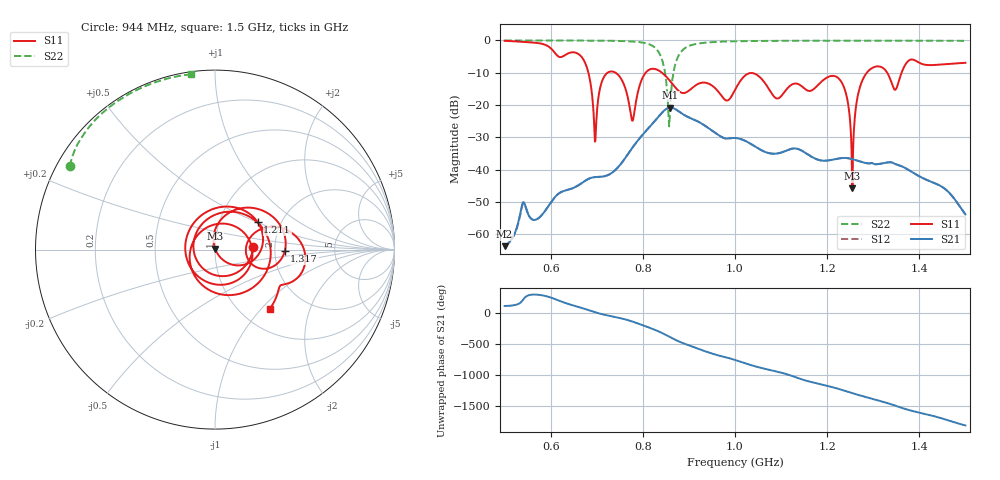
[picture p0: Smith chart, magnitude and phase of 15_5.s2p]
! TOUCHSTONE file generated by CST MICROWAVE STUDIO
! Date and time: Mon Nov 30 08:36:15 2020
! Project name: Scenario_1_Planar_Body_Tissue_Out_of_Line.cst
! Parameters = {dy1=-103.8; L_HA=400; Ltissue=700; MT=2.54; Rad_Dielectric=30; Rad_Lower=7.3; Rad_Upper=30; Wtissue=700; a_HA=580; a_WG=246; b_HA=500; b_WG=121; c_HA=0; c_WG=187; d_feed=85; dx1=866; h_feed=15; h_lower=18; h_upper=40; hfat=3; hgap=25; hmuscle=50; hskin=1.5}
! Header version: 2018
! Port assignment regex: !\s*Touchstone port\s*([0-9]+)\s*=\s*(CST MWS port|CST DS port)\s*([0-9]+|Zmin|Zmax)\s*\(\"(.*)\"\)(\s*mode\s*([0-9]+))?.*
! Touchstone port assignment:
! Touchstone port 1 = CST MWS port 1 ("")
! Touchstone port 2 = CST MWS port 2 ("")
# GHz S DB R 50
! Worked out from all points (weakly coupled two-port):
!   1003 points, 500 MHz to 1.5 GHz, reference 50 ohm
!   highest |S21| = -20.81 dB at 860 MHz (marker M1); lowest = -63.7 dB at 500 MHz (marker M2)
!   lowest |S11| = -45.8 dB at 1.255 GHz (marker M3), VSWR 1.01, Z = 50.1 + j0.511 ohm
!   |S11| at or under -10 dB: 681.8 MHz to 723.5 MHz (41.67 MHz wide, 5.93 % of centre); 740.7 MHz to 806.2 MHz (65.44 MHz wide, 8.46 % of centre); 841.5 MHz to 1.286 GHz (444.7 MHz wide, 41.8 % of centre)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
!   |S22| runs from -26.6 to 0.0 dB; largest |S21 - S12| = 0.00026
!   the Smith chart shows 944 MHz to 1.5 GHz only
!   S11 on the Smith chart (normalised r, x): 944 MHz: 1.54, +0.04; 1.211 GHz: 1.52, +0.50; 1.317 GHz: 2.27, -0.05; 1.5 GHz: 1.35, -1.12
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0.5  -0.10 -122.1  -63.73 105.1  -63.73 105.1  -0.01 151.1
0.54  -0.45 -139.8  -50.16 -155.6  -50.63 -159.3  -0.01 148.5
0.583  -1.12 -167.7  -53.71 -86.2  -53.71 -86.1  -0.02 145.4
0.667  -5.09 122.7  -44.22 74.5  -44.22 74.5  -0.04 138.4
0.697  -31.13 -65.7  -42.32 2.8  -42.32 2.8  -0.06 135.2
0.723  -10.05 169.5  -41.79 -46.0  -41.79 -46.0  -0.10 131.8
0.777  -24.87 -29.4  -33.30 -144.2  -33.30 -144.2  -0.33 121.1
0.807  -9.86 157.4  -28.00 136.6  -28.00 136.6  -0.89 108.5
0.834  -9.28 72.1  -23.61 57.6  -23.61 57.6  -3.54 82.4
0.86  -12.72 -13.2  -20.81 -38.6  -20.81 -38.6  -18.74 -119.6
0.881  -15.99 -100.7  -22.28 -112.9  -22.28 -112.9  -3.90 -174.4
0.944  -13.47 3.5  -27.32 76.4  -27.32 76.4  -0.59 150.1
1  -15.33 106.9  -30.22 -41.1  -30.22 -41.1  -0.26 140.1
1.033  -10.11 -6.7  -31.95 -120.3  -31.95 -120.3  -0.19 136.1
1.167  -15.44 164.7  -36.09 -37.6  -36.09 -37.6  -0.09 124.1
1.211  -10.98 32.6  -36.97 -116.7  -36.97 -116.7  -0.09 120.8
1.239  -15.55 -31.6  -36.41 -177.3  -36.41 -177.3  -0.08 118.6
1.255  -45.79 83.6  -36.79 145.7  -36.79 145.7  -0.08 117.4
1.275  -12.87 67.5  -37.68 102.5  -37.69 102.5  -0.08 115.9
1.317  -8.21 -1.4  -38.17 16.6  -38.17 16.6  -0.08 112.8
1.334  -11.01 -22.2  -37.74 -20.6  -37.74 -20.7  -0.08 111.5
1.5  -6.94 -47.1  -53.88 -11.6  -53.88 -11.6  -0.13 97.9
